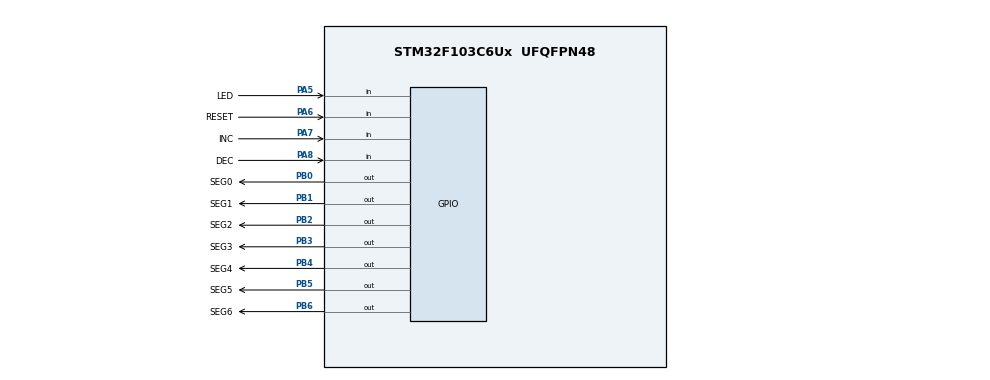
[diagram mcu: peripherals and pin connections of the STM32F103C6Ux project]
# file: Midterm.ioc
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Mcu.Family=STM32F1
Mcu.Name=STM32F103C6Ux
Mcu.Package=UFQFPN48
NVIC.PriorityGroup=NVIC_PRIORITYGROUP_4
NVIC.TIM2_IRQn=true\:0\:0\:false\:false\:true\:true\:true\:true
PA5.GPIO_Label=LED
PA5.Signal=GPIO_Input
PA6.GPIO_Label=RESET
PA6.Signal=GPIO_Input
PA7.GPIO_Label=INC
PA7.Signal=GPIO_Input
PA8.GPIO_Label=DEC
PA8.Signal=GPIO_Input
PB0.GPIO_Label=SEG0
PB0.Signal=GPIO_Output
PB1.GPIO_Label=SEG1
PB1.Signal=GPIO_Output
PB2.GPIO_Label=SEG2
PB2.Signal=GPIO_Output
PB3.GPIO_Label=SEG3
PB3.Signal=GPIO_Output
PB4.GPIO_Label=SEG4
PB4.Signal=GPIO_Output
PB5.GPIO_Label=SEG5
PB5.Signal=GPIO_Output
PB6.GPIO_Label=SEG6
PB6.Signal=GPIO_Output
ProjectManager.HeapSize=0x200
ProjectManager.StackSize=0x400
ProjectManager.TargetToolchain=STM32CubeIDE
RCC.APB1Freq_Value=8000000
RCC.APB2Freq_Value=8000000
TIM2.Period=9
TIM2.Prescaler=7999
VP_TIM2_VS_ClockSourceINT.Mode=Internal
board=custom

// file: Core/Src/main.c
/* USER CODE BEGIN Header */
/**
  ******************************************************************************
  * @file           : main.c
  * @brief          : Main program body
  ******************************************************************************
  * @attention
  *
  * Copyright (c) 2022 STMicroelectronics.
  * All rights reserved.
  *
  * This software is licensed under terms that can be found in the LICENSE file
  * in the root directory of this software component.
  * If no LICENSE file comes with this software, it is provided AS-IS.
  *
  ******************************************************************************
  */
/* USER CODE END Header */
#include <fsmMidterm.h>
#include <global.h>
#include "main.h"

/* USER CODE BEGIN Includes */
#include "software_timer.h"
#include "led_7_seg.h"

/* USER CODE END Includes */

TIM_HandleTypeDef htim2;

void SystemClock_Config(void);
static void MX_GPIO_Init(void);
static void MX_TIM2_Init(void);

int main(void)
{

  /* MCU Configuration--------------------------------------------------------*/

  /* Reset of all peripherals, Initializes the Flash interface and the Systick. */
  HAL_Init();

  /* Configure the system clock */
  SystemClock_Config();

  /* Initialize all configured peripherals */
  MX_GPIO_Init();
  MX_TIM2_Init();
  /* USER CODE BEGIN 2 */

  HAL_TIM_Base_Start_IT(& htim2);

  SetTimer0(10);
  SetTimer1(1000);
  InitVar();
  /* USER CODE END 2 */

  /* Infinite loop */
  /* USER CODE BEGIN WHILE */
  while (1)
  {
	  if(Timer0()){
			  fsm_simple_buttons_run();
			  DisplayNum(number);
			  SetTimer0(10);
	  }
	  if(Timer1()){
		  if(flagIncreaseNumberMode1){
				number = number + 1 > 9 ? 0 : number + 1;
		  }
		  else if(flagDecreaseNumberMode1){
				number = number - 1 < 0 ? 9 : number - 1;
		  }
		  else if(flagDecreaseNumberMode2){
				number = number - 1 < 0 ? 0 : number - 1;
		  }
		  HAL_GPIO_TogglePin(LED_GPIO_Port, LED_Pin);
		  SetTimer1(1000);
	  }
    /* USER CODE END WHILE */

  }
}

void SystemClock_Config(void)
{
  RCC_OscInitTypeDef RCC_OscInitStruct = {0};
  RCC_ClkInitTypeDef RCC_ClkInitStruct = {0};

  /** Initializes the RCC Oscillators according to the specified parameters
  * in the RCC_OscInitTypeDef structure.
  */
  RCC_OscInitStruct.OscillatorType = RCC_OSCILLATORTYPE_HSI;
  RCC_OscInitStruct.HSIState = RCC_HSI_ON;
  RCC_OscInitStruct.HSICalibrationValue = RCC_HSICALIBRATION_DEFAULT;
  RCC_OscInitStruct.PLL.PLLState = RCC_PLL_NONE;
  if (HAL_RCC_OscConfig(&RCC_OscInitStruct) != HAL_OK)
  {
    Error_Handler();
  }

  /** Initializes the CPU, AHB and APB buses clocks
  */
  RCC_ClkInitStruct.ClockType = RCC_CLOCKTYPE_HCLK|RCC_CLOCKTYPE_SYSCLK
                              |RCC_CLOCKTYPE_PCLK1|RCC_CLOCKTYPE_PCLK2;
  RCC_ClkInitStruct.SYSCLKSource = RCC_SYSCLKSOURCE_HSI;
  RCC_ClkInitStruct.AHBCLKDivider = RCC_SYSCLK_DIV1;
  RCC_ClkInitStruct.APB1CLKDivider = RCC_HCLK_DIV1;
  RCC_ClkInitStruct.APB2CLKDivider = RCC_HCLK_DIV1;

  if (HAL_RCC_ClockConfig(&RCC_ClkInitStruct, FLASH_LATENCY_0) != HAL_OK)
  {
    Error_Handler();
  }
}

static void MX_TIM2_Init(void)
{

  TIM_ClockConfigTypeDef sClockSourceConfig = {0};
  TIM_MasterConfigTypeDef sMasterConfig = {0};

  htim2.Instance = TIM2;
  htim2.Init.Prescaler = 7999;
  htim2.Init.CounterMode = TIM_COUNTERMODE_UP;
  htim2.Init.Period = 9;
  htim2.Init.ClockDivision = TIM_CLOCKDIVISION_DIV1;
  htim2.Init.AutoReloadPreload = TIM_AUTORELOAD_PRELOAD_DISABLE;
  if (HAL_TIM_Base_Init(&htim2) != HAL_OK)
  {
    Error_Handler();
  }
  sClockSourceConfig.ClockSource = TIM_CLOCKSOURCE_INTERNAL;
  if (HAL_TIM_ConfigClockSource(&htim2, &sClockSourceConfig) != HAL_OK)
  {
    Error_Handler();
  }
  sMasterConfig.MasterOutputTrigger = TIM_TRGO_RESET;
  sMasterConfig.MasterSlaveMode = TIM_MASTERSLAVEMODE_DISABLE;
  if (HAL_TIMEx_MasterConfigSynchronization(&htim2, &sMasterConfig) != HAL_OK)
  {
    Error_Handler();
  }

}

static void MX_GPIO_Init(void)
{
  GPIO_InitTypeDef GPIO_InitStruct = {0};

  /* GPIO Ports Clock Enable */
  __HAL_RCC_GPIOA_CLK_ENABLE();
  __HAL_RCC_GPIOB_CLK_ENABLE();

  /*Configure GPIO pin Output Level */
  HAL_GPIO_WritePin(GPIOB, SEG0_Pin|SEG1_Pin|SEG2_Pin|SEG3_Pin
                          |SEG4_Pin|SEG5_Pin|SEG6_Pin, GPIO_PIN_RESET);

  /*Configure GPIO pins : LED_Pin RESET_Pin INC_Pin DEC_Pin */
  GPIO_InitStruct.Pin = LED_Pin|RESET_Pin|INC_Pin|DEC_Pin;
  GPIO_InitStruct.Mode = GPIO_MODE_INPUT;
  GPIO_InitStruct.Pull = GPIO_NOPULL;
  HAL_GPIO_Init(GPIOA, &GPIO_InitStruct);

  /*Configure GPIO pins : SEG0_Pin SEG1_Pin SEG2_Pin SEG3_Pin
                           SEG4_Pin SEG5_Pin SEG6_Pin */
  GPIO_InitStruct.Pin = SEG0_Pin|SEG1_Pin|SEG2_Pin|SEG3_Pin
                          |SEG4_Pin|SEG5_Pin|SEG6_Pin;
  GPIO_InitStruct.Mode = GPIO_MODE_OUTPUT_PP;
  GPIO_InitStruct.Pull = GPIO_NOPULL;
  GPIO_InitStruct.Speed = GPIO_SPEED_FREQ_LOW;
  HAL_GPIO_Init(GPIOB, &GPIO_InitStruct);

}

void Error_Handler(void)
{
  __disable_irq();
  while (1)
  {
  }
}
